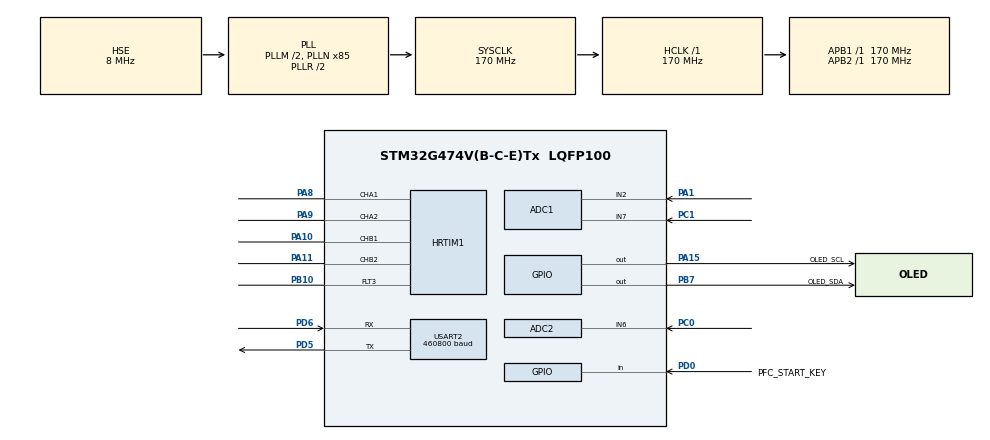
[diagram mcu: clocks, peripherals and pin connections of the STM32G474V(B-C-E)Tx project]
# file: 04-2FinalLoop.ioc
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ADC1.AWD1HighThreshold=4095
ADC1.AWD1ITMode=ENABLE
ADC1.AWD1LowThreshold=0
ADC1.AWD2HighThreshold=4080
ADC1.AWD2ITMode=ENABLE
ADC1.AWDChannel-1\#ChannelRegularConversion=ADC_CHANNEL_7
ADC1.Channel-0\#ChannelRegularConversion=ADC_CHANNEL_2
ADC1.Channel-1\#ChannelRegularConversion=ADC_CHANNEL_7
ADC1.ClockPrescaler=ADC_CLOCK_ASYNC_DIV4
ADC1.DMAContinuousRequests=ENABLE
ADC1.EOCSelection=ADC_EOC_SEQ_CONV
ADC1.EnableAnalogWatchDog1=true
ADC1.EnableAnalogWatchDog2=true
ADC1.EnableAnalogWatchDog3=false
ADC1.ExternalTrigConv=ADC_EXTERNALTRIG_HRTIM_TRG1
ADC1.MonitoredBy-1\#ChannelRegularConversion=ADC_ANALOGWATCHDOG_2
ADC1.NbrOfConversion=2
ADC1.NbrOfConversionFlag=1
ADC1.OffsetNumber-0\#ChannelRegularConversion=ADC_OFFSET_NONE
ADC1.OffsetNumber-1\#ChannelRegularConversion=ADC_OFFSET_NONE
ADC1.Overrun=ADC_OVR_DATA_OVERWRITTEN
ADC1.Rank-0\#ChannelRegularConversion=1
ADC1.Rank-1\#ChannelRegularConversion=2
ADC1.RegFilteringConfig-1\#ChannelRegularConversion=ADC_AWD_FILTERING_NONE
ADC1.SamplingTime-0\#ChannelRegularConversion=ADC_SAMPLETIME_24CYCLES_5
ADC1.SamplingTime-1\#ChannelRegularConversion=ADC_SAMPLETIME_24CYCLES_5
ADC1.WDG2ChannelR2=ADC_CHANNEL_7
ADC1.WatchdogChannel=ADC_CHANNEL_2
ADC1.WatchdogMode2=ADC_ANALOGWATCHDOG_SINGLE_REGINJEC
ADC1.master=1
ADC2.AWD1HighThreshold=4095
ADC2.AWD1ITMode=ENABLE
ADC2.Channel-0\#ChannelRegularConversion=ADC_CHANNEL_6
ADC2.ClockPrescaler=ADC_CLOCK_ASYNC_DIV4
ADC2.DMAContinuousRequests=ENABLE
ADC2.EnableAnalogWatchDog1=true
ADC2.ExternalTrigConv=ADC_EXTERNALTRIG_HRTIM_TRG1
ADC2.NbrOfConversion=1
ADC2.NbrOfConversionFlag=1
ADC2.OffsetNumber-0\#ChannelRegularConversion=ADC_OFFSET_NONE
ADC2.Overrun=ADC_OVR_DATA_OVERWRITTEN
ADC2.Rank-0\#ChannelRegularConversion=1
ADC2.SamplingTime-0\#ChannelRegularConversion=ADC_SAMPLETIME_24CYCLES_5
ADC2.WatchdogChannel=ADC_CHANNEL_6
Dma.ADC1.0.Direction=DMA_PERIPH_TO_MEMORY
Dma.ADC1.0.EventEnable=DISABLE
Dma.ADC1.0.Instance=DMA1_Channel1
Dma.ADC1.0.MemDataAlignment=DMA_MDATAALIGN_HALFWORD
Dma.ADC1.0.MemInc=DMA_MINC_ENABLE
Dma.ADC1.0.Mode=DMA_CIRCULAR
Dma.ADC1.0.PeriphDataAlignment=DMA_PDATAALIGN_HALFWORD
Dma.ADC1.0.PeriphInc=DMA_PINC_DISABLE
Dma.ADC1.0.Polarity=HAL_DMAMUX_REQ_GEN_RISING
Dma.ADC1.0.Priority=DMA_PRIORITY_HIGH
Dma.ADC1.0.RequestNumber=1
Dma.ADC1.0.SignalID=NONE
Dma.ADC1.0.SyncEnable=DISABLE
Dma.ADC1.0.SyncPolarity=HAL_DMAMUX_SYNC_NO_EVENT
Dma.ADC1.0.SyncRequestNumber=1
Dma.ADC1.0.SyncSignalID=NONE
Dma.ADC2.1.Direction=DMA_PERIPH_TO_MEMORY
Dma.ADC2.1.EventEnable=DISABLE
Dma.ADC2.1.Instance=DMA1_Channel2
Dma.ADC2.1.MemDataAlignment=DMA_MDATAALIGN_HALFWORD
Dma.ADC2.1.MemInc=DMA_MINC_ENABLE
Dma.ADC2.1.Mode=DMA_CIRCULAR
Dma.ADC2.1.PeriphDataAlignment=DMA_PDATAALIGN_HALFWORD
Dma.ADC2.1.PeriphInc=DMA_PINC_DISABLE
Dma.ADC2.1.Polarity=HAL_DMAMUX_REQ_GEN_RISING
Dma.ADC2.1.Priority=DMA_PRIORITY_HIGH
Dma.ADC2.1.RequestNumber=1
Dma.ADC2.1.SignalID=NONE
Dma.ADC2.1.SyncEnable=DISABLE
Dma.ADC2.1.SyncPolarity=HAL_DMAMUX_SYNC_NO_EVENT
Dma.ADC2.1.SyncRequestNumber=1
Dma.ADC2.1.SyncSignalID=NONE
Dma.Request0=ADC1
Dma.Request1=ADC2
HRTIM1.ADCTrigger1_Source1=HRTIM_ADCTRIGGEREVENT13_MASTER_CMP2
HRTIM1.ADCTrigger_Id1=HRTIM_ADCTRIGGER_1
HRTIM1.BlankingSourceFaultLine3=__NULL
HRTIM1.Bmrom_TA=HRTIM_TIM_BMROM_BOTH
HRTIM1.Bmrom_TB=HRTIM_TIM_BMROM_BOTH
HRTIM1.CompareUnit1-Output_TA1TA2=HRTIM_COMPAREUNIT_1
HRTIM1.CompareUnit1-Output_TB1TB2=HRTIM_COMPAREUNIT_1
HRTIM1.CompareUnit2-MasterTimer=HRTIM_COMPAREUNIT_2
HRTIM1.CompareValue1-Output_TA1TA2=17000
HRTIM1.CompareValue1-Output_TB1TB2=17000
HRTIM1.CompareValue2-MasterTimer=17000
HRTIM1.DeadTimeInsertion-Output_TA1TA2=HRTIM_TIMDEADTIMEINSERTION_ENABLED
HRTIM1.DeadTimeInsertion-Output_TB1TB2=HRTIM_TIMDEADTIMEINSERTION_ENABLED
HRTIM1.FallingValue-Output_TA1TA2=85
HRTIM1.FallingValue-Output_TB1TB2=85
HRTIM1.FaultEnable_Source1-Output_TA1TA2=HRTIM_TIMFAULTENABLE_FAULT3
HRTIM1.FaultEnable_Source1-Output_TB1TB2=HRTIM_TIMFAULTENABLE_FAULT3
HRTIM1.FaultLevel1-Output_TA1TA2=HRTIM_OUTPUTFAULTLEVEL_INACTIVE
HRTIM1.FaultLevel1-Output_TB1TB2=HRTIM_OUTPUTFAULTLEVEL_INACTIVE
HRTIM1.FaultLevel2-Output_TA1TA2=HRTIM_OUTPUTFAULTLEVEL_INACTIVE
HRTIM1.FaultLevel2-Output_TB1TB2=HRTIM_OUTPUTFAULTLEVEL_INACTIVE
HRTIM1.Fault_Line3=HRTIM_FAULT_3
HRTIM1.Ferom_TA=HRTIM_TIM_FEROM_BOTH
HRTIM1.Ferom_TB=HRTIM_TIM_FEROM_BOTH
HRTIM1.HRTIMInterruptResquests1=HRTIM_IT_FLT3
HRTIM1.NumberADCTriggerSource1=1
HRTIM1.NumberFaultEnable-Output_TA1TA2=1
HRTIM1.NumberFaultEnable-Output_TB1TB2=1
HRTIM1.NumberResetSource1-Output_TA1TA2=1
HRTIM1.NumberResetSource1-Output_TB1TB2=1
HRTIM1.NumberSetSource1-Output_TA1TA2=1
HRTIM1.NumberSetSource1-Output_TB1TB2=1
HRTIM1.NumberUpdateTrigger-Output_TA1TA2=0
HRTIM1.Outrom_TA=HRTIM_TIM_OUTROM_VALLEY
HRTIM1.Outrom_TB=HRTIM_TIM_OUTROM_VALLEY
HRTIM1.Periode_MASTER=34000
HRTIM1.Periode_TA=34000
HRTIM1.Periode_TB=34000
HRTIM1.Polarity_FaultLine3=HRTIM_FAULTPOLARITY_LOW
HRTIM1.PreloadEnable-Output_TA1TA2=HRTIM_PRELOAD_ENABLED
HRTIM1.PreloadEnable-Output_TB1TB2=HRTIM_PRELOAD_ENABLED
HRTIM1.PrescalerDead-Output_TA1TA2=HRTIM_TIMDEADTIME_PRESCALERRATIO_DIV1
HRTIM1.PrescalerDead-Output_TB1TB2=HRTIM_TIMDEADTIME_PRESCALERRATIO_DIV1
HRTIM1.PrescalerRatio_MASTER=HRTIM_PRESCALERRATIO_MUL2
HRTIM1.PrescalerRatio_TA=HRTIM_PRESCALERRATIO_MUL4
HRTIM1.PrescalerRatio_TB=HRTIM_PRESCALERRATIO_MUL4
HRTIM1.RepetitionCounter-MasterTimer=0
HRTIM1.RepetitionCounter-Output_TA1TA2=0
HRTIM1.RepetitionCounter-Output_TB1TB2=0
HRTIM1.RepetitionUpdate-Output_TA1TA2=HRTIM_UPDATEONREPETITION_ENABLED
HRTIM1.RepetitionUpdate-Output_TB1TB2=HRTIM_UPDATEONREPETITION_ENABLED
HRTIM1.ResetOutput1_Source1-Output_TA1TA2=HRTIM_OUTPUTRESET_TIMCMP1
HRTIM1.ResetOutput1_Source1-Output_TB1TB2=HRTIM_OUTPUTRESET_TIMCMP1
HRTIM1.RisingValue-Output_TA1TA2=85
HRTIM1.RisingValue-Output_TB1TB2=85
HRTIM1.SetOutput1_Source1-Output_TA1TA2=HRTIM_OUTPUTSET_TIMCMP1
HRTIM1.SetOutput1_Source1-Output_TB1TB2=HRTIM_OUTPUTSET_TIMCMP1
HRTIM1.UpDownMode-Output_TA1TA2=HRTIM_TIMERUPDOWNMODE_UPDOWN
HRTIM1.UpDownMode-Output_TB1TB2=HRTIM_TIMERUPDOWNMODE_UPDOWN
HRTIM1.postscaler1=0
HRTIM1.rom_TA=HRTIM_TIM_ROM_VALLEY
HRTIM1.rom_TB=HRTIM_TIM_ROM_VALLEY
IWDG.Prescaler=IWDG_PRESCALER_64
IWDG.Reload=249
Mcu.Family=STM32G4
Mcu.Name=STM32G474V(B-C-E)Tx
Mcu.Package=LQFP100
NVIC.ADC1_2_IRQn=true\:1\:0\:true\:false\:true\:true\:true\:true
NVIC.DMA1_Channel1_IRQn=true\:2\:0\:true\:false\:true\:false\:true\:true
NVIC.DMA1_Channel2_IRQn=true\:1\:0\:true\:false\:true\:false\:true\:true
NVIC.HRTIM1_FLT_IRQn=true\:0\:0\:false\:false\:true\:true\:true\:true
NVIC.PriorityGroup=NVIC_PRIORITYGROUP_4
PA1.Mode=IN2-Single-Ended
PA1.Signal=ADC1_IN2
PA10.Mode=Output_TB1TB2
PA10.Signal=HRTIM1_CHB1
PA11.Mode=Output_TB1TB2
PA11.Signal=HRTIM1_CHB2
PA13.Mode=Serial_Wire
PA13.Signal=SYS_JTMS-SWDIO
PA14.Mode=Serial_Wire
PA14.Signal=SYS_JTCK-SWCLK
PA15.GPIO_Label=OLED_SCL
PA15.GPIO_ModeDefaultOutputPP=GPIO_MODE_OUTPUT_PP
PA15.GPIO_PuPd=GPIO_NOPULL
PA15.GPIO_Speed=GPIO_SPEED_FREQ_HIGH
PA15.Signal=GPIO_Output
PA8.Mode=Output_TA1TA2
PA8.Signal=HRTIM1_CHA1
PA9.Mode=Output_TA1TA2
PA9.Signal=HRTIM1_CHA2
PB10.GPIO_PuPd=GPIO_PULLUP
PB10.Mode=Fault_Enable3
PB10.Signal=HRTIM1_FLT3
PB7.GPIO_Label=OLED_SDA
PB7.GPIO_ModeDefaultOutputPP=GPIO_MODE_OUTPUT_OD
PB7.GPIO_PuPd=GPIO_NOPULL
PB7.GPIO_Speed=GPIO_SPEED_FREQ_HIGH
PB7.Signal=GPIO_Output
PC0.Mode=IN6-Single-Ended
PC0.Signal=ADC2_IN6
PC1.Mode=IN7-Single-Ended
PC1.Signal=ADC1_IN7
PD0.GPIO_Label=PFC_START_KEY
PD0.GPIO_PuPd=GPIO_PULLUP
PD0.Signal=GPIO_Input
PD5.Mode=Asynchronous
PD5.Signal=USART2_TX
PD6.Mode=Asynchronous
PD6.Signal=USART2_RX
PF0-OSC_IN.Mode=HSE-External-Oscillator
PF0-OSC_IN.Signal=RCC_OSC_IN
PF1-OSC_OUT.Mode=HSE-External-Oscillator
PF1-OSC_OUT.Signal=RCC_OSC_OUT
ProjectManager.HeapSize=0x200
ProjectManager.StackSize=0x400
ProjectManager.TargetToolchain=MDK-ARM V5.32
RCC.ADC12Freq_Value=170000000
RCC.ADC345Freq_Value=170000000
RCC.AHBFreq_Value=170000000
RCC.APB1Freq_Value=170000000
RCC.APB1TimFreq_Value=170000000
RCC.APB2Freq_Value=170000000
RCC.APB2TimFreq_Value=170000000
RCC.CortexFreq_Value=170000000
RCC.EXTERNAL_CLOCK_VALUE=12288000
RCC.EnbaleCSS=true
RCC.HCLKFreq_Value=170000000
RCC.HSE_VALUE=8000000
RCC.HSI48_VALUE=48000000
RCC.HSI_VALUE=16000000
RCC.LSE_VALUE=32768
RCC.PLLM=RCC_PLLM_DIV2
RCC.PLLN=85
RCC.PLLSourceVirtual=RCC_PLLSOURCE_HSE
RCC.SYSCLKFreq_VALUE=170000000
RCC.SYSCLKSource=RCC_SYSCLKSOURCE_PLLCLK
RCC.USBFreq_Value=170000000
RCC.VCOOutputFreq_Value=340000000
USART2.BaudRate=460800
USART2.VirtualMode-Asynchronous=VM_ASYNC
VP_HRTIM1_VS_hrtimMasterTimerNoOutput.Mode=MasterTimer
VP_IWDG_VS_IWDG.Mode=IWDG_Activate
VP_SYS_VS_DBSignals.Mode=DisableDeadBatterySignals
board=custom

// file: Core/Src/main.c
/* USER CODE BEGIN Header */
/**
  ******************************************************************************
  * @file           : main.c
  * @brief          : 5 V单相PWM整流器PI+PR双闭环验证主程序
  ******************************************************************************
  * @attention
  *
  * Copyright (c) 2026 STMicroelectronics.
  * All rights reserved.
  *
  * This software is licensed under terms that can be found in the LICENSE file
  * in the root directory of this software component.
  * If no LICENSE file comes with this software, it is provided AS-IS.
  *
  ******************************************************************************
  */
/*
 * 本文件负责CubeMX外设初始化、PFC应用模块装配、低速显示/通信调度以及HAL回调转发，
 * 不在主循环中直接计算PWM调制，也不直接解释DMA缓冲区中的半更新数据。
 *
 * 当前启动数据流：GPIO安全态 -> HRTIM独立10 kHz时基 -> IWDG；ADC/DMA/AWD均跳过。
 * 运行数据流：HRTIM Master Repetition -> 虚拟PI/软件相位/SPWM；主循环只处理
 * 1 ms状态机、10 ms VOFA、500 ms OLED和100 ms安全监督。
 *
 * 当前板卡没有MCU可控Gate Enable。打开TA1/TA2/TB1/TB2即可能驱动功率器件；
 * 当前无ADC模式不发布实测量；外设启用与PWM许可由pfc_user_config.h分层控制。
 */
/* USER CODE END Header */
#include "main.h"
#include "adc.h"
#include "dma.h"
#include "hrtim.h"
#include "usart.h"
#include "gpio.h"

/* USER CODE BEGIN Includes */
#include "OLED.h"
#include "pfc_measure.h"
#include "pfc_hrtim.h"
#include "iwdg.h"
#include "vofa.h"
#include "pfc_params.h"
#include "pfc_app.h"
#include "pfc_control.h"
/* USER CODE END Includes */

/* USER CODE BEGIN PV */

/*
 * VOFA JustFloat发送缓存，由主循环每10 ms写入并阻塞发送，固定使用8个通道。
 * 三种运行模式的通道映射由PFC_DebugFillVofa()统一生成，避免现场调试时散改main。
 * CH7始终编码PFC状态与完整故障位；详细通道定义见项目Markdown使用说明。
 */
static float vofa_data[VOFA_MAX_CHANNELS] = {0.0f};

/* VOFA发送结果累计值，仅由主循环写，供Keil Watch判断调试串口是否持续工作。 */
static uint32_t vofa_tx_ok_count = 0U;
static uint32_t vofa_tx_error_count = 0U;

/* 当前编译期参数档的常驻只读地址；初始化后由main和各PFC模块共同读取。 */
static const PFC_Params *pfc_params = NULL;

/* 上电复位来源快照：1表示IWDG复位；只在初始化时写入并传给状态机。 */
static uint8_t pfc_iwdg_reset_seen = 0U;

/* USER CODE END PV */

void SystemClock_Config(void);
/* USER CODE BEGIN PFP */
static void PFC_DebugInitOledLabels(PFC_RunMode mode);
static void PFC_DebugFillVofa(const PFC_Measurement *measurement,
                              const PFC_AdcCalibrationStats *stats,
                              const PFC_ControlTelemetry *control);
static void PFC_DebugRefreshOled(const PFC_Measurement *measurement,
                                 const PFC_AdcCalibrationStats *stats,
                                 const PFC_ControlTelemetry *control);
/* USER CODE END PFP */

/* USER CODE BEGIN 0 */

/** @brief 按编译期运行模式写入OLED固定标签；只在上电初始化阶段调用一次。 */
static void PFC_DebugInitOledLabels(PFC_RunMode mode)
{
  if ((pfc_params != NULL) && (pfc_params->adc_enabled == 0U))
  {
    OLED_ShowString(1, 1, "R:     X:     ");
    OLED_ShowString(2, 1, "A:     M:     ");
    OLED_ShowString(3, 1, "H:     O: ");
    OLED_ShowString(4, 1, "F:     S:  ");
  }
  else if (mode == PFC_RUN_MODE_RAW_ADC)
  {
    OLED_ShowString(1, 1, "I:    /    /    ");
    OLED_ShowString(2, 1, "V:    /    /    ");
    OLED_ShowString(3, 1, "D:    W:     ");
    OLED_ShowString(4, 1, "S:  F:     ");
  }
  else if (mode == PFC_RUN_MODE_ENGINEERING_CHECK)
  {
    OLED_ShowString(1, 1, "V:     R:     ");
    OLED_ShowString(2, 1, "I:     R:     ");
    OLED_ShowString(3, 1, "D:     H:     ");
    OLED_ShowString(4, 1, "E:     F:     ");
  }
  else
  {
    OLED_ShowString(1, 1, "I:     V:     ");
    OLED_ShowString(2, 1, "D:     X:     ");
    OLED_ShowString(3, 1, "A:     M:     ");
    OLED_ShowString(4, 1, "F:     S:  ");
  }
}

/**
 * @brief 依据运行模式填充8路VOFA JustFloat缓存。
 * @note  只由主循环每10 ms调用；函数不发送串口，也不直接读取DMA数组。
 */
static void PFC_DebugFillVofa(const PFC_Measurement *measurement,
                              const PFC_AdcCalibrationStats *stats,
                              const PFC_ControlTelemetry *control)
{
  if ((measurement == NULL) || (stats == NULL) || (control == NULL) ||
      (pfc_params == NULL))
  {
    return;
  }

  if (pfc_params->adc_enabled == 0U)
  {
    vofa_data[0] = control->synthetic_vac_reference;
    vofa_data[1] = control->current_reference;
    vofa_data[2] = control->virtual_vbus_reference;
    vofa_data[3] = control->virtual_vbus_feedback;
    vofa_data[4] = control->pi_output_current_rms;
    vofa_data[5] = control->applied_current_rms;
    vofa_data[6] = control->modulation;
  }
  else if (pfc_params->run_mode == PFC_RUN_MODE_RAW_ADC)
  {
    vofa_data[0] = (float)stats->ipfc_mean;
    vofa_data[1] = (float)stats->ipfc_min;
    vofa_data[2] = (float)stats->ipfc_max;
    vofa_data[3] = (float)stats->vac_mean;
    vofa_data[4] = (float)stats->vac_min;
    vofa_data[5] = (float)stats->vac_max;
    vofa_data[6] = (float)stats->vbus_mean;
  }
  else if (pfc_params->run_mode == PFC_RUN_MODE_ENGINEERING_CHECK)
  {
    vofa_data[0] = measurement->vac;
    vofa_data[1] = measurement->vac_rms;
    vofa_data[2] = measurement->ipfc;
    vofa_data[3] = measurement->ipfc_rms;
    vofa_data[4] = measurement->vbus;
    vofa_data[5] = measurement->vac_frequency_hz;
    vofa_data[6] = (float)PFC_Params_GetValidationError(pfc_params);
  }
  else
  {
    vofa_data[0] = measurement->vac;
    vofa_data[1] = measurement->ipfc;
    vofa_data[2] = control->current_reference;
    vofa_data[3] = measurement->vbus;
    vofa_data[4] = control->virtual_vbus_feedback;
    vofa_data[5] = control->applied_current_rms;
    vofa_data[6] = control->modulation;
  }
  vofa_data[7] = (float)((uint32_t)PFC_AppGetState() * 1000000U +
                         measurement->fault_bits);
}

/**
 * @brief 按运行模式刷新OLED数字区域。
 * @note  主循环按用户配置周期调用；ADC关闭时显示虚拟量，禁止从HRTIM ISR调用。
 */
static void PFC_DebugRefreshOled(const PFC_Measurement *measurement,
                                 const PFC_AdcCalibrationStats *stats,
                                 const PFC_ControlTelemetry *control)
{
  if ((measurement == NULL) || (stats == NULL) || (control == NULL) ||
      (pfc_params == NULL))
  {
    return;
  }

  if (pfc_params->adc_enabled == 0U)
  {
    OLED_ShowNum(1, 3, (uint32_t)(control->virtual_vbus_reference * 100.0f), 5);
    OLED_ShowNum(1, 11, (uint32_t)(control->virtual_vbus_feedback * 100.0f), 5);
    OLED_ShowNum(2, 3, (uint32_t)(control->applied_current_rms * 1000.0f), 5);
    OLED_ShowSignedNum(2, 11, (int32_t)(control->modulation * 10000.0f), 5);
    OLED_ShowNum(3, 3, control->fast_heartbeat % 100000U, 5);
    OLED_ShowNum(3, 11, PFC_HRTIM_OutputsEnabled(), 1);
    OLED_ShowHexNum(4, 3, measurement->fault_bits, 5);
    OLED_ShowNum(4, 11, (uint32_t)PFC_AppGetState(), 2);
  }
  else if (pfc_params->run_mode == PFC_RUN_MODE_RAW_ADC)
  {
    OLED_ShowNum(1, 3, stats->ipfc_mean, 4);
    OLED_ShowNum(1, 8, stats->ipfc_min, 4);
    OLED_ShowNum(1, 13, stats->ipfc_max, 4);
    OLED_ShowNum(2, 3, stats->vac_mean, 4);
    OLED_ShowNum(2, 8, stats->vac_min, 4);
    OLED_ShowNum(2, 13, stats->vac_max, 4);
    OLED_ShowNum(3, 3, stats->vbus_mean, 4);
    OLED_ShowNum(3, 9, stats->window_sequence % 100000U, 5);
    OLED_ShowNum(4, 3, (uint32_t)PFC_AppGetState(), 2);
    OLED_ShowHexNum(4, 7, measurement->fault_bits, 5);
  }
  else if (pfc_params->run_mode == PFC_RUN_MODE_ENGINEERING_CHECK)
  {
    OLED_ShowSignedNum(1, 3, (int32_t)(measurement->vac * 100.0f), 5);
    OLED_ShowNum(1, 11, (uint32_t)(measurement->vac_rms * 100.0f), 5);
    OLED_ShowSignedNum(2, 3, (int32_t)(measurement->ipfc * 1000.0f), 5);
    OLED_ShowNum(2, 11, (uint32_t)(measurement->ipfc_rms * 1000.0f), 5);
    OLED_ShowNum(3, 3, (uint32_t)(measurement->vbus * 100.0f), 5);
    OLED_ShowNum(3, 11, (uint32_t)(measurement->vac_frequency_hz * 100.0f), 5);
    OLED_ShowHexNum(4, 3, PFC_Params_GetValidationError(pfc_params), 5);
    OLED_ShowHexNum(4, 11, measurement->fault_bits, 5);
  }
  else
  {
    OLED_ShowSignedNum(1, 3, (int32_t)(measurement->ipfc * 1000.0f), 5);
    OLED_ShowSignedNum(1, 11, (int32_t)(measurement->vac * 100.0f), 5);
    OLED_ShowNum(2, 3, (uint32_t)(measurement->vbus * 100.0f), 5);
    OLED_ShowNum(2, 11, (uint32_t)(control->virtual_vbus_feedback * 100.0f), 5);
    OLED_ShowNum(3, 3, (uint32_t)(control->applied_current_rms * 1000.0f), 5);
    OLED_ShowSignedNum(3, 11, (int32_t)(control->modulation * 10000.0f), 5);
    OLED_ShowHexNum(4, 3, measurement->fault_bits, 5);
    OLED_ShowNum(4, 11, (uint32_t)PFC_AppGetState(), 2);
  }
}

/* USER CODE END 0 */

int main(void)
{

  /* MCU Configuration--------------------------------------------------------*/

  /* Reset of all peripherals, Initializes the Flash interface and the Systick. */
  HAL_Init();

  /* Configure the system clock */
  SystemClock_Config();

  /* Initialize all configured peripherals */
  MX_GPIO_Init();
  MX_DMA_Init();
  MX_HRTIM1_Init();
  MX_ADC1_Init();
  MX_ADC2_Init();
  MX_USART2_UART_Init();
  /* USER CODE BEGIN 2 */

  /* CubeMX初始化结束后第一时间保持四路输出关闭；当前板卡没有独立Gate Enable。 */
  PFC_HRTIM_StopPower();

  pfc_iwdg_reset_seen = (__HAL_RCC_GET_FLAG(RCC_FLAG_IWDGRST) != RESET) ? 1U : 0U;
  __HAL_RCC_CLEAR_RESET_FLAGS();
  pfc_params = PFC_Params_GetActive();

	/*
	 * 上电后先等待OLED内部电源和电荷泵稳定。该延时只在初始化阶段执行，
	 * 不能放入主循环或快速采样回调，否则会阻塞后台任务或控制节拍。
	 */
	HAL_Delay(100);
	OLED_Init();

	/* 初始化测量模块的软件状态、DMA样本快照、序列号和故障标志。 */
	PFC_Measure_Init(pfc_params);
	PFC_AppInit(pfc_params, pfc_iwdg_reset_seen);

	/* 固定标签只写一次；运行模式由pfc_user_config.h在编译期选择。 */
	PFC_DebugInitOledLabels(pfc_params->run_mode);

#if PFC_USER_ENABLE_ADC
  /* ADC校准必须在启动规则组DMA之前完成，此时HRTIM尚未产生ADC触发。 */
  if (HAL_ADCEx_Calibration_Start(&hadc2, ADC_SINGLE_ENDED) != HAL_OK)
  {
    PFC_Measure_Trip(PFC_FAULT_ADC_ERROR);
    Error_Handler();
  }

  /* 再校准IPFC和VBUS使用的ADC1。 */
  if (HAL_ADCEx_Calibration_Start(&hadc1, ADC_SINGLE_ENDED) != HAL_OK)
  {
    PFC_Measure_Trip(PFC_FAULT_ADC_ERROR);
    Error_Handler();
  }

  /*
   * 标定有效时按参数档重写IPFC、VBUS和VAC看门狗阈值；标定无效时函数保留
   * CubeMX宽窗口。AWD配置必须早于HAL_ADC_Start_DMA()，避免转换期间改模式。
   */
  if (PFC_Measure_ConfigureWatchdogs(&hadc1, &hadc2) != HAL_OK)
  {
    PFC_Measure_Trip(PFC_FAULT_PARAM | PFC_FAULT_ADC_ERROR);
    Error_Handler();
  }

  /*
   * ADC2规则组只有VAC一个Rank。先启动ADC2 DMA，使其提前进入等待
   * HRTIM_TRG1的状态。DMA硬件更新VAC原始数组，完整传输回调只推进
   * adc2_sequence，供随后完成的ADC1回调判断两个ADC是否属于同一采样节拍。
   */
  if (HAL_ADC_Start_DMA(&hadc2, (uint32_t *)PFC_Adc2Dma, 1U) != HAL_OK)
  {
    PFC_Measure_Trip(PFC_FAULT_ADC_ERROR);
    Error_Handler();
  }

  /*
   * ADC1规则组依次采集IPFC和VBUS，DMA长度2必须与Rank数量一致。
   * ADC1完成回调在两个Rank均搬运结束后发生，并作为唯一10 kHz快速入口；
   * ADC2回调只发布VAC序列，不能再次执行同一周期的控制或测量处理。
   */
  if (HAL_ADC_Start_DMA(&hadc1, (uint32_t *)PFC_Adc1Dma, 2U) != HAL_OK)
  {
    PFC_Measure_Trip(PFC_FAULT_ADC_ERROR);
    Error_Handler();
  }

  /*
   * 循环DMA默认会产生Half Transfer和Transfer Complete两类中断。
   * 本工程只在一整个规则序列完成后处理样本，因此关闭HT中断，
   * 避免ADC1 Rank 1完成时提前读取尚未更新的VBUS并重复进入回调。
   */
  __HAL_DMA_DISABLE_IT(hadc2.DMA_Handle, DMA_IT_HT);
  __HAL_DMA_DISABLE_IT(hadc1.DMA_Handle, DMA_IT_HT);
#endif

  /*
   * 启动Master、Timer A/B计数器和Master Repetition中断。
   * ADC关闭时由该10 kHz中断驱动虚拟PI、软件相位和SPWM更新；仍不开放PWM输出。
   */
  if (PFC_HRTIM_StartSampling() != HAL_OK)
  {
    PFC_Measure_Trip(PFC_FAULT_HRTIM);
    Error_Handler();
  }

  /*
   * IWDG放在可能耗时或失败的初始化之后启动。无ADC模式只在HRTIM快速时基、
   * 控制心跳、状态机和输出状态一致时刷新，避免ADC停用造成约500 ms循环复位。
   */
  MX_IWDG_Init();

  /* USER CODE END 2 */

  /* Infinite loop */
  /* USER CODE BEGIN WHILE */

  /* ms Tick；主循环独占写入，OLED周期由用户配置统一决定。 */
  uint32_t oled_tick = HAL_GetTick();

  /* ms Tick；主循环独占写入，VOFA约每秒发送100帧且不追补过期帧。 */
  uint32_t vofa_tick = HAL_GetTick();

  /* ms Tick；安全监督与OLED独立计时，显示任务不能改变喂狗判据。 */
  uint32_t safety_tick = HAL_GetTick();
  /* 上一监督窗口的ADC序列快照；每100 ms更新，用于检测任一路DMA停滞。 */
#if PFC_USER_ENABLE_ADC
  uint32_t safety_last_adc1_sequence = 0U;
  uint32_t safety_last_adc2_sequence = 0U;
#endif
  /* ms Tick；通过逐毫秒追赶调用状态机，短暂主循环延迟不会跳过消抖计时。 */
  uint32_t app_tick = HAL_GetTick();
  while (1)
  {
    /* USER CODE END WHILE */

    /* USER CODE BEGIN 3 */

    while ((HAL_GetTick() - app_tick) >= 1U)
    {
      app_tick++;
      PFC_AppTick1ms();
    }

	/*
	 * 每10 ms发送一次VOFA数据。阻塞式USART只允许放在主循环，
	 * 不能放进10 kHz ADC DMA回调，否则会破坏快速采样和后续控制节拍。
	 */
	if ((HAL_GetTick() - vofa_tick) >= 10U)
	{
		PFC_Measurement vofa_measurement;
		PFC_AdcCalibrationStats calibration_stats;
		PFC_ControlTelemetry control_telemetry;

		/* 以当前时刻为新基准，主循环偶尔延迟时不连续补发旧帧。 */
		vofa_tick = HAL_GetTick();

		/* 读取ISR已经发布的完整快照，不直接读取正在由DMA改写的数组。 */
		PFC_Measure_GetSnapshot(&vofa_measurement);
		PFC_Measure_GetCalibrationStats(&calibration_stats);
		PFC_Control_GetTelemetry(&control_telemetry);
		PFC_DebugFillVofa(&vofa_measurement, &calibration_stats,
		                  &control_telemetry);

		/*
		 * HAL_OK只能说明MCU已完成串口发送，最终链路仍需观察VOFA曲线确认。
		 * 调试通信不是保护条件，因此发送失败只计数，不停ADC/HRTIM也不喂故障。
		 */
		if (VOFA_Send(&huart2, vofa_data, VOFA_MAX_CHANNELS) == HAL_OK)
		{
			vofa_tx_ok_count++;
		}
		else
		{
			vofa_tx_error_count++;
		}
	}

	/*
	 * 每100 ms执行一次低速显示和安全监督。这里使用无阻塞的Tick差值，
	 * 而不是HAL_Delay()，以便主循环后续继续加入状态机和通信任务。
	 */
	if ((HAL_GetTick() - oled_tick) >= PFC_USER_OLED_PERIOD_MS)
    {
		/* 记录本次实际执行时刻；OLED写屏超时后不连续追赶历史周期。 */
		oled_tick = HAL_GetTick();
        PFC_Measurement measurement;
        PFC_AdcCalibrationStats calibration_stats;
        PFC_ControlTelemetry control_telemetry;

        /*
         * 主循环不直接读取正在被DMA改写的PFC_Adc1Dma/PFC_Adc2Dma。
         * 通过测量模块取得同一发布时刻的完整快照，避免显示半更新数据。
        */
        PFC_Measure_GetSnapshot(&measurement);
        PFC_Measure_GetCalibrationStats(&calibration_stats);
        PFC_Control_GetTelemetry(&control_telemetry);
        PFC_DebugRefreshOled(&measurement, &calibration_stats,
                             &control_telemetry);
    }

    if ((HAL_GetTick() - safety_tick) >= 100U)
    {
      safety_tick = HAL_GetTick();
#if PFC_USER_ENABLE_ADC
      PFC_Measurement safety_measurement;
      PFC_Measure_GetSnapshot(&safety_measurement);
      if ((safety_measurement.adc1_sequence == safety_last_adc1_sequence) ||
          (safety_measurement.adc2_sequence == safety_last_adc2_sequence))
      {
        /* 任一路DMA停滞都先锁存同步故障，再停止刷新IWDG。 */
        PFC_Measure_Trip(PFC_FAULT_ADC_SYNC);
      }
      else if (PFC_AppWatchdogHealthy() != 0U)
      {
        (void)HAL_IWDG_Refresh(&hiwdg);
      }
      safety_last_adc1_sequence = safety_measurement.adc1_sequence;
      safety_last_adc2_sequence = safety_measurement.adc2_sequence;
#else
      /* 无ADC模式只监督HRTIM 10 kHz时基、控制心跳、Fault和输出状态。 */
      if (PFC_AppWatchdogHealthy() != 0U)
      {
        (void)HAL_IWDG_Refresh(&hiwdg);
      }
#endif
    }

  }
  /* USER CODE END 3 */
}

void SystemClock_Config(void)
{
  RCC_OscInitTypeDef RCC_OscInitStruct = {0};
  RCC_ClkInitTypeDef RCC_ClkInitStruct = {0};

  /** Configure the main internal regulator output voltage
  */
  HAL_PWREx_ControlVoltageScaling(PWR_REGULATOR_VOLTAGE_SCALE1_BOOST);

  /** Initializes the RCC Oscillators according to the specified parameters
  * in the RCC_OscInitTypeDef structure.
  */
  RCC_OscInitStruct.OscillatorType = RCC_OSCILLATORTYPE_LSI|RCC_OSCILLATORTYPE_HSE;
  RCC_OscInitStruct.HSEState = RCC_HSE_ON;
  RCC_OscInitStruct.LSIState = RCC_LSI_ON;
  RCC_OscInitStruct.PLL.PLLState = RCC_PLL_ON;
  RCC_OscInitStruct.PLL.PLLSource = RCC_PLLSOURCE_HSE;
  RCC_OscInitStruct.PLL.PLLM = RCC_PLLM_DIV2;
  RCC_OscInitStruct.PLL.PLLN = 85;
  RCC_OscInitStruct.PLL.PLLP = RCC_PLLP_DIV2;
  RCC_OscInitStruct.PLL.PLLQ = RCC_PLLQ_DIV2;
  RCC_OscInitStruct.PLL.PLLR = RCC_PLLR_DIV2;
  if (HAL_RCC_OscConfig(&RCC_OscInitStruct) != HAL_OK)
  {
    Error_Handler();
  }

  /** Initializes the CPU, AHB and APB buses clocks
  */
  RCC_ClkInitStruct.ClockType = RCC_CLOCKTYPE_HCLK|RCC_CLOCKTYPE_SYSCLK
                              |RCC_CLOCKTYPE_PCLK1|RCC_CLOCKTYPE_PCLK2;
  RCC_ClkInitStruct.SYSCLKSource = RCC_SYSCLKSOURCE_PLLCLK;
  RCC_ClkInitStruct.AHBCLKDivider = RCC_SYSCLK_DIV1;
  RCC_ClkInitStruct.APB1CLKDivider = RCC_HCLK_DIV1;
  RCC_ClkInitStruct.APB2CLKDivider = RCC_HCLK_DIV1;

  if (HAL_RCC_ClockConfig(&RCC_ClkInitStruct, FLASH_LATENCY_4) != HAL_OK)
  {
    Error_Handler();
  }

  /** Enables the Clock Security System
  */
  HAL_RCC_EnableCSS();
}

/* USER CODE BEGIN 4 */

/**
 * @brief HRTIM Master每个10 kHz周期结束时的独立快速控制入口。
 * @param hhrtim 预期为HRTIM1句柄。
 * @param TimerIdx 预期为HRTIM_TIMERINDEX_MASTER。
 * @note ADC关闭时替代ADC1 DMA回调；ISR内禁止OLED、USART、HAL_Delay和阻塞操作。
 */
#if !PFC_USER_ENABLE_ADC
void HAL_HRTIM_RepetitionEventCallback(HRTIM_HandleTypeDef *hhrtim,
                                       uint32_t TimerIdx)
{
  if ((hhrtim != NULL) && (hhrtim->Instance == HRTIM1) &&
      (TimerIdx == HRTIM_TIMERINDEX_MASTER))
  {
    PFC_AppFastStep();
  }
}
#endif

#if PFC_USER_ENABLE_ADC
/**
 * @brief ADC规则组DMA完整传输回调。
 * @param hadc 发生完整转换事件的ADC句柄。
 *
 * 两路ADC均由HRTIM Master CMP2通过HRTIM_TRG1以10 kHz触发。
 * ADC2先完成单通道VAC采样并发布序列号；ADC1完成IPFC、VBUS两个Rank后，
 * 检查ADC2的新样本并形成一次同步测量快照。控制算法后续也应只从ADC1
 * 分支进入，避免一个PWM周期执行两次。
 *
 * 该函数运行在DMA中断上下文，禁止调用OLED、阻塞式USART或HAL_Delay()。
 */
void HAL_ADC_ConvCpltCallback(ADC_HandleTypeDef *hadc)
{
  if ((hadc != NULL) && (hadc->Instance == ADC2))
  {
    PFC_Measure_OnAdc2Complete();
  }
  else if ((hadc != NULL) && (hadc->Instance == ADC1))
  {
    PFC_Measure_OnAdc1Complete();

    /* ADC1完整序列是唯一10 kHz控制入口；锁存故障后不得继续推进虚拟PI或调制。 */
    if (PFC_Measure_GetFault() == PFC_FAULT_NONE)
    {
      PFC_AppFastStep();
    }
  }
}

/**
 * @brief  将任一ADC的HAL错误统一转换为锁存故障。
 * @param  hadc 发生错误的ADC句柄；当前策略不按ADC实例区分恢复方式。
 * @note   运行在ADC/DMA错误中断上下文，只允许执行非阻塞安全关断和故障记录。
 */
void HAL_ADC_ErrorCallback(ADC_HandleTypeDef *hadc)
{
  /*
   * ADC发生Overrun、DMA或内部状态错误时进入。当前不区分具体ADC，
   * 统一交给测量模块锁存ADC故障；功率控制中不能尝试自动恢复输出。
   */
  (void)hadc;
  PFC_Measure_AdcError();
}

/**
 * @brief ADC1/2模拟看门狗1越窗回调。
 * @param hadc 发生AWD1事件的ADC句柄；ADC1对应IPFC，ADC2对应VAC。
 * @note 运行在ADC1_2中断中，只执行故障锁存和HRTIM快速关断。
 */
void HAL_ADC_LevelOutOfWindowCallback(ADC_HandleTypeDef *hadc)
{
  if ((hadc != NULL) && (hadc->Instance == ADC1))
  {
    PFC_Measure_AnalogWatchdog(PFC_AWD_SOURCE_IPFC);
  }
  else if ((hadc != NULL) && (hadc->Instance == ADC2))
  {
    PFC_Measure_AnalogWatchdog(PFC_AWD_SOURCE_VAC);
  }
}

/**
 * @brief ADC1模拟看门狗2越窗回调，专门记录VBUS过压。
 * @param hadc 预期为ADC1句柄。
 * @note 运行在ADC1_2中断中；AWD2是硬件阈值检测，回调负责软件锁存和再次关断。
 */
void HAL_ADCEx_LevelOutOfWindow2Callback(ADC_HandleTypeDef *hadc)
{
  if ((hadc != NULL) && (hadc->Instance == ADC1))
  {
    PFC_Measure_AnalogWatchdog(PFC_AWD_SOURCE_VBUS);
  }
}
#endif

/**
 * @brief  记录HRTIM Fault 3事件并锁存PFC故障。
 * @param  hhrtim 产生Fault 3中断的HRTIM句柄；当前工程只有HRTIM1。
 * @note   HRTIM硬件输出无效逻辑是第一关断路径，本ISR不是短路保护的首响应路径。
 */
void HAL_HRTIM_Fault3Callback(HRTIM_HandleTypeDef *hhrtim)
{
  /*
   * Fault 3硬件逻辑已先把HRTIM输出置为Inactive；ISR随后记录故障状态，
   * 供主循环显示和状态机处理。清除中断标志不代表允许自动恢复PWM。
   */
  (void)hhrtim;
  PFC_Measure_Trip(PFC_FAULT_HRTIM);
}

/* USER CODE END 4 */

void Error_Handler(void)
{
  /* USER CODE BEGIN Error_Handler_Debug */
  /*
   * 不可恢复的初始化或HAL错误统一进入安全态：先关闭全部HRTIM计数和
   * 输出，再禁止中断并停留；若IWDG已经启动，最终由IWDG复位系统。
   * 当前驱动板没有MCU Gate Enable，因此HRTIM输出禁止就是软件关断边界。
   */
  PFC_HRTIM_StopAll();
  __disable_irq();
  while (1)
  {
  }
  /* USER CODE END Error_Handler_Debug */
}
